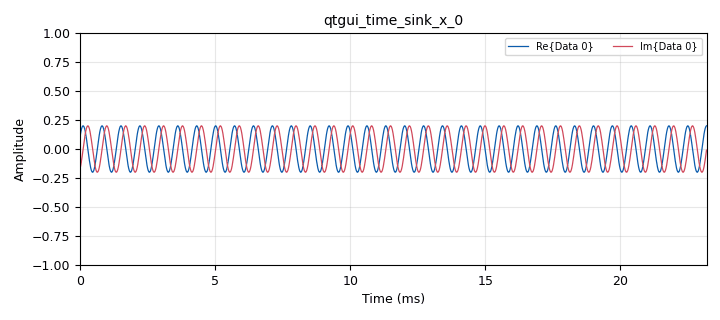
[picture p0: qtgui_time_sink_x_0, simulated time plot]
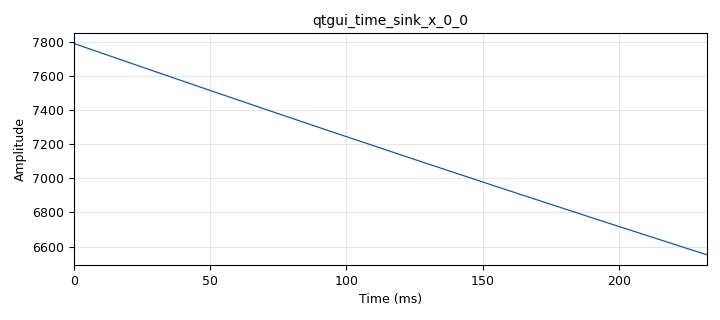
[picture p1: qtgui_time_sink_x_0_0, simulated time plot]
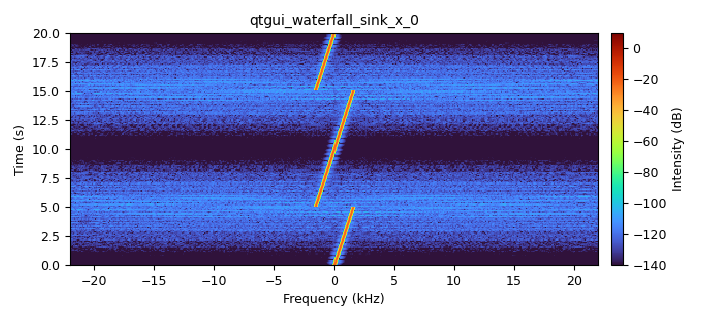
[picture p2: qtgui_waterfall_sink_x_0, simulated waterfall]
options:
  parameters:
    generate_options: qt_gui
    id: chirp_with_integrator
    output_language: python
    title: Chirp with integrator
  states: {}

blocks:
- name: max_freq_dev
  id: variable_qtgui_range
  parameters:
    start: '0'
    step: '10e-3'
    stop: '1000e-3'
    value: '450e-3'
  states: {}
- name: samp_rate
  id: variable
  parameters:
    value: '44100'
  states: {}
- name: analog_const_source_x_0
  id: analog_const_source_x
  parameters:
    const: '0.2'
    type: float
  states: {}
- name: analog_sig_source_x_0
  id: analog_sig_source_x
  parameters:
    amp: max_freq_dev
    freq: '.1'
    offset: '-max_freq_dev/2'
    phase: '0'
    samp_rate: samp_rate
    type: float
    waveform: analog.GR_SAW_WAVE
  states: {}
- name: blocks_magphase_to_complex_0
  id: blocks_magphase_to_complex
  parameters: {}
  states: {}
- name: blocks_throttle2_0
  id: blocks_throttle2
  parameters:
    samples_per_second: samp_rate
    type: float
  states: {}
- name: iir_filter_xxx_0
  id: iir_filter_xxx
  parameters:
    fbtaps: '[1, -1]'
    fftaps: '[1]'
    oldstyle: 'False'
    type: ffd
  states: {}
- name: import_0
  id: import
  parameters:
    imports: import math
  states: {}
- name: note_0
  id: note
  parameters:
    note: Don't use this setup
  states: {}
- name: qtgui_time_sink_x_0
  id: qtgui_time_sink_x
  parameters:
    size: '1024'
    srate: samp_rate
    type: complex
  states: {}
- name: qtgui_time_sink_x_0_0
  id: qtgui_time_sink_x
  parameters:
    autoscale: 'True'
    size: '10240'
    srate: samp_rate
    type: float
    ymax: 1e8
  states: {}
- name: qtgui_waterfall_sink_x_0
  id: qtgui_waterfall_sink_x
  parameters:
    bw: samp_rate
    fc: '0'
    fftsize: '1024'
    type: complex
  states: {}

connections:
- [analog_const_source_x_0, '0', blocks_magphase_to_complex_0, '0']
- [analog_sig_source_x_0, '0', iir_filter_xxx_0, '0']
- [blocks_magphase_to_complex_0, '0', qtgui_time_sink_x_0, '0']
- [blocks_magphase_to_complex_0, '0', qtgui_waterfall_sink_x_0, '0']
- [blocks_throttle2_0, '0', blocks_magphase_to_complex_0, '1']
- [blocks_throttle2_0, '0', qtgui_time_sink_x_0_0, '0']
- [iir_filter_xxx_0, '0', blocks_throttle2_0, '0']

metadata:
  file_format: 1
  grc_version: 3.10.9.2
